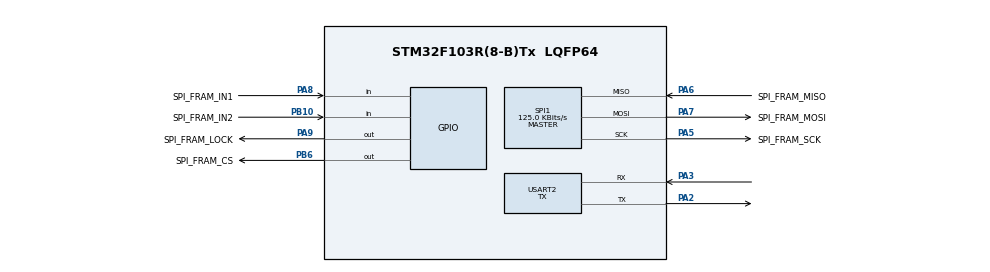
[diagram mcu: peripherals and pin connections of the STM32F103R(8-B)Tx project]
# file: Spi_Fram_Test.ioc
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Mcu.Family=STM32F1
Mcu.Name=STM32F103R(8-B)Tx
Mcu.Package=LQFP64
NVIC.PriorityGroup=NVIC_PRIORITYGROUP_4
PA2.Mode=Asynchronous
PA2.Signal=USART2_TX
PA3.Mode=Asynchronous
PA3.Signal=USART2_RX
PA5.GPIO_Label=SPI_FRAM_SCK
PA5.Mode=Full_Duplex_Master
PA5.Signal=SPI1_SCK
PA6.GPIO_Label=SPI_FRAM_MISO
PA6.Mode=Full_Duplex_Master
PA6.Signal=SPI1_MISO
PA7.GPIO_Label=SPI_FRAM_MOSI
PA7.Mode=Full_Duplex_Master
PA7.Signal=SPI1_MOSI
PA8.GPIO_Label=SPI_FRAM_IN1
PA8.Signal=GPIO_Input
PA9.GPIO_Label=SPI_FRAM_LOCK
PA9.Signal=GPIO_Output
PB10.GPIO_Label=SPI_FRAM_IN2
PB10.Signal=GPIO_Input
PB6.GPIO_Label=SPI_FRAM_CS
PB6.Signal=GPIO_Output
ProjectManager.HeapSize=0x200
ProjectManager.StackSize=0x400
ProjectManager.TargetToolchain=MDK-ARM V5
RCC.APB1Freq_Value=8000000
RCC.APB2Freq_Value=8000000
SPI1.BaudRatePrescaler=SPI_BAUDRATEPRESCALER_64
SPI1.CalculateBaudRate=125.0 KBits/s
SPI1.Direction=SPI_DIRECTION_2LINES
SPI1.Mode=SPI_MODE_MASTER
SPI1.VirtualType=VM_MASTER
USART2.Mode=MODE_TX
USART2.Parity=PARITY_NONE
USART2.VirtualMode=VM_ASYNC
VP_SYS_VS_ND.Mode=No_Debug
board=custom

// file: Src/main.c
/* USER CODE BEGIN Header */
/**
  ******************************************************************************
  * @file           : main.c
  * @brief          : Main program body
  ******************************************************************************
  ** This notice applies to any and all portions of this file
  * that are not between comment pairs USER CODE BEGIN and
  * USER CODE END. Other portions of this file, whether
  * inserted by the user or by software development tools
  * are owned by their respective copyright owners.
  *
  * COPYRIGHT(c) 2019 STMicroelectronics
  *
  * Redistribution and use in source and binary forms, with or without modification,
  * are permitted provided that the following conditions are met:
  *   1. Redistributions of source code must retain the above copyright notice,
  *      this list of conditions and the following disclaimer.
  *   2. Redistributions in binary form must reproduce the above copyright notice,
  *      this list of conditions and the following disclaimer in the documentation
  *      and/or other materials provided with the distribution.
  *   3. Neither the name of STMicroelectronics nor the names of its contributors
  *      may be used to endorse or promote products derived from this software
  *      without specific prior written permission.
  *
  * THIS SOFTWARE IS PROVIDED BY THE COPYRIGHT HOLDERS AND CONTRIBUTORS "AS IS"
  * AND ANY EXPRESS OR IMPLIED WARRANTIES, INCLUDING, BUT NOT LIMITED TO, THE
  * IMPLIED WARRANTIES OF MERCHANTABILITY AND FITNESS FOR A PARTICULAR PURPOSE ARE
  * DISCLAIMED. IN NO EVENT SHALL THE COPYRIGHT HOLDER OR CONTRIBUTORS BE LIABLE
  * FOR ANY DIRECT, INDIRECT, INCIDENTAL, SPECIAL, EXEMPLARY, OR CONSEQUENTIAL
  * DAMAGES (INCLUDING, BUT NOT LIMITED TO, PROCUREMENT OF SUBSTITUTE GOODS OR
  * SERVICES; LOSS OF USE, DATA, OR PROFITS; OR BUSINESS INTERRUPTION) HOWEVER
  * CAUSED AND ON ANY THEORY OF LIABILITY, WHETHER IN CONTRACT, STRICT LIABILITY,
  * OR TORT (INCLUDING NEGLIGENCE OR OTHERWISE) ARISING IN ANY WAY OUT OF THE USE
  * OF THIS SOFTWARE, EVEN IF ADVISED OF THE POSSIBILITY OF SUCH DAMAGE.
  *
  ******************************************************************************
  */
/* USER CODE END Header */

#include "main.h"

/* USER CODE BEGIN Includes */
#include "SPI_FRAM.h"
#include "DateConversion.h"
/* USER CODE END Includes */

SPI_HandleTypeDef hspi1;

UART_HandleTypeDef huart2;

void SystemClock_Config(void);
static void MX_GPIO_Init(void);
static void MX_SPI1_Init(void);
static void MX_USART2_UART_Init(void);

int main(void)
{

  /* MCU Configuration--------------------------------------------------------*/

  /* Reset of all peripherals, Initializes the Flash interface and the Systick. */
  HAL_Init();

  /* Configure the system clock */
  SystemClock_Config();

  /* Initialize all configured peripherals */
  MX_GPIO_Init();
  MX_SPI1_Init();
  MX_USART2_UART_Init();
  /* USER CODE BEGIN 2 */

	char msg[200] = {0};
	char msgClear[200] = {0};
  /* USER CODE END 2 */

  /* Infinite loop */
  /* USER CODE BEGIN WHILE */

	uint8_t battLevel, pmState, numdataPoints, solarVector, ltStatus, mechState, numUsers, powerStatus;
	double logTime, julianTime;
	volatile float longitude, latitude, altitude;
	uint8_t longU[4] = {0};
	uint8_t longD[8] = {0};

//	longitude = 234.54;
//	float_to_bytes(longitude, longU);
//	SPI_FRAM_Write(&hspi1, SPI_FRAM_LONGITUDE_ADDR, longU, 4);
//	HAL_Delay(1);
//
//	memcpy(msg, msgClear, 200);
//	snprintf(msg, 200, "\nLongitude: %f\n", longitude);
//	HAL_UART_Transmit(&huart2, (uint8_t *) msg, 200*sizeof(uint8_t), 5);

	#if 1 // Write to FRAM Test
	//uint8_t longU[4] = {0};
	//uint8_t longD[8] = {0};

	longitude = 234.3;
	float_to_bytes(longitude, longU);
	SPI_FRAM_Write(&hspi1, SPI_FRAM_LONGITUDE_ADDR, longU, 4, &huart2);
	HAL_Delay(1);

	latitude = 123.45;
	float_to_bytes(latitude, longU);
	SPI_FRAM_Write(&hspi1, SPI_FRAM_LATITUDE_ADDR, longU, 4, &huart2);
	HAL_Delay(1);

	altitude = 432.1;
	float_to_bytes(altitude, longU);
	SPI_FRAM_Write(&hspi1, SPI_FRAM_ALTITUDE_ADDR, longU, 4, &huart2);
	HAL_Delay(1);

	julianTime = 2458616.719144;
	double_to_bytes(julianTime, longD);
	SPI_FRAM_Write(&hspi1, SPI_FRAM_TIME_ADDR, longD, 8, &huart2);
	HAL_Delay(1);

	battLevel = 0x33;
	SPI_FRAM_Write(&hspi1, SPI_FRAM_BATT_LEVEL_ADDR, &battLevel, 1, &huart2);
	HAL_Delay(1);

	pmState = 0x02;
	SPI_FRAM_Write(&hspi1, SPI_FRAM_PM_STATE_ADDR, &pmState, 1, &huart2);
	HAL_Delay(1);

	logTime = 2458616.760810;
	double_to_bytes(logTime, longD);
	SPI_FRAM_Write(&hspi1, SPI_FRAM_LOG_DATA_TIME_ADDR, longD, 8, &huart2);
	HAL_Delay(1);

	numdataPoints = 0xD3;
	SPI_FRAM_Write(&hspi1, SPI_FRAM_NUM_DATA_ADDR, &numdataPoints, 1, &huart2);
	HAL_Delay(1);

	solarVector = 0xD3;
	SPI_FRAM_Write(&hspi1, SPI_FRAM_SOLAR_VECTOR_ADDR, &solarVector, 1, &huart2);
	HAL_Delay(1);

	ltStatus = 0x01;
	SPI_FRAM_Write(&hspi1, SPI_FRAM_LT_STAT_ADDR, &ltStatus, 1, &huart2);
	HAL_Delay(1);

	numUsers = 0xA9;
	SPI_FRAM_Write(&hspi1, SPI_FRAM_LT_DAILY_USERS_ADDR, &numUsers, 1, &huart2);
	HAL_Delay(1);

	powerStatus = 0x01;
	SPI_FRAM_Write(&hspi1, SPI_FRAM_POWER_STAT_ADDR, &powerStatus, 1, &huart2);
	HAL_Delay(1);

	mechState = 0x03;
	SPI_FRAM_Write(&hspi1, SPI_FRAM_MECH_STATE_ADDR, &mechState, 1, &huart2);
	#endif

	HAL_Delay(10);
	uint8_t readVal[4] = {1, 2, 3, 4};
	uint8_t readDouble[8] = {0};

	#if 0
	// Latitude
	SPI_FRAM_Read(&hspi1, SPI_FRAM_LATITUDE_ADDR, readVal, 4, &huart2);
	latitude = bytes_to_float(readVal);
	memcpy(msg, msgClear, 200);
	snprintf(msg, 200, "\nLatitude: %f\n", latitude);
	HAL_UART_Transmit(&huart2, (uint8_t *) msg, 200*sizeof(uint8_t), 5);

	// Longitude
	SPI_FRAM_Read(&hspi1, SPI_FRAM_LONGITUDE_ADDR, readVal, 4, &huart2);
	longitude = bytes_to_float(readVal);
	memcpy(msg, msgClear, 200);
	snprintf(msg, 200, "\nLongitude: %f\n", longitude);
	HAL_UART_Transmit(&huart2, (uint8_t *) msg, 200*sizeof(uint8_t), 5);

	// Altitude
	SPI_FRAM_Read(&hspi1, SPI_FRAM_ALTITUDE_ADDR, readVal, 4, &huart2);
	altitude = bytes_to_float(readVal);
	memcpy(msg, msgClear, 200);
	snprintf(msg, 200, "\nAltitude: %f\n", altitude);
	HAL_UART_Transmit(&huart2, (uint8_t *) msg, 200*sizeof(uint8_t), 5);

	// Time
	SPI_FRAM_Read(&hspi1, SPI_FRAM_TIME_ADDR, readDouble, 8, &huart2);
	julianTime = bytes_to_double(readDouble);
	memcpy(msg, msgClear, 200);
	snprintf(msg, 200, "\nTime: %lf\n", julianTime);
	HAL_UART_Transmit(&huart2, (uint8_t *) msg, 200*sizeof(uint8_t), 5);

	// Battery
	SPI_FRAM_Read(&hspi1, SPI_FRAM_BATT_LEVEL_ADDR, &battLevel, 1, &huart2);
	memcpy(msg, msgClear, 200);
	snprintf(msg, 200, "\nBattery Level: 0x%02x\n", battLevel);
	HAL_UART_Transmit(&huart2, (uint8_t *) msg, 200*sizeof(uint8_t), 5);

	// Power modes state
	SPI_FRAM_Read(&hspi1, SPI_FRAM_PM_STATE_ADDR, &pmState, 1, &huart2);
	memcpy(msg, msgClear, 200);
	snprintf(msg, 200, "\nPModes State: 0x%02X\n", pmState);
	HAL_UART_Transmit(&huart2, (uint8_t *) msg, 200*sizeof(uint8_t), 5);

	// Log data at a certain time
	SPI_FRAM_Read(&hspi1, SPI_FRAM_LOG_DATA_TIME_ADDR, readDouble, 8, &huart2);
	logTime = bytes_to_double(readDouble);
	memcpy(msg, msgClear, 200);
	snprintf(msg, 200, "\nLog data time: %lf\n", logTime);
	HAL_UART_Transmit(&huart2, (uint8_t *) msg, 200*sizeof(uint8_t), 5);

	// num data points logged
	SPI_FRAM_Read(&hspi1, SPI_FRAM_NUM_DATA_ADDR, &numdataPoints, 1, &huart2);
	memcpy(msg, msgClear, 200);
	snprintf(msg, 200, "\nNum data points: 0x%02X\n", numdataPoints);
	HAL_UART_Transmit(&huart2, (uint8_t *) msg, 200*sizeof(uint8_t), 5);

	// solar vector
	SPI_FRAM_Read(&hspi1, SPI_FRAM_SOLAR_VECTOR_ADDR, &solarVector, 1, &huart2);
	memcpy(msg, msgClear, 200);
	snprintf(msg, 200, "\nSolar Vector: 0x%02X\n", solarVector);
	HAL_UART_Transmit(&huart2, (uint8_t *) msg, 200*sizeof(uint8_t), 5);

	// LT status
	SPI_FRAM_Read(&hspi1, SPI_FRAM_LT_STAT_ADDR, &ltStatus, 1, &huart2);
	memcpy(msg, msgClear, 200);
	snprintf(msg, 200, "\nLT Status: 0x%02X\n", ltStatus);
	HAL_UART_Transmit(&huart2, (uint8_t *) msg, 200*sizeof(uint8_t), 5);

	// Daily users
	SPI_FRAM_Read(&hspi1, SPI_FRAM_LT_DAILY_USERS_ADDR, &numUsers, 1, &huart2);
	memcpy(msg, msgClear, 200);
	snprintf(msg, 200, "\nDaily Users: 0x%02X\n", numUsers);
	HAL_UART_Transmit(&huart2, (uint8_t *) msg, 200*sizeof(uint8_t), 5);

	// Power status
	SPI_FRAM_Read(&hspi1, SPI_FRAM_POWER_STAT_ADDR, &powerStatus, 1, &huart2);
	memcpy(msg, msgClear, 200);
	snprintf(msg, 200, "\nPower status: 0x%02X\n", powerStatus);
	HAL_UART_Transmit(&huart2, (uint8_t *) msg, 200*sizeof(uint8_t), 5);

	// Mech state
	SPI_FRAM_Read(&hspi1, SPI_FRAM_MECH_STATE_ADDR, &mechState, 1, &huart2);
	memcpy(msg, msgClear, 200);
	snprintf(msg, 200, "\nMech state: 0x%02X\n", mechState);
	HAL_UART_Transmit(&huart2, (uint8_t *) msg, 200*sizeof(uint8_t), 5);

	HAL_GPIO_WritePin(GPIOA, SPI_FRAM_LOCK_Pin, GPIO_PIN_SET);
	#endif

  while (1)
  {
    /* USER CODE END WHILE */

  }
}

void SystemClock_Config(void)
{
  RCC_OscInitTypeDef RCC_OscInitStruct = {0};
  RCC_ClkInitTypeDef RCC_ClkInitStruct = {0};

  /** Initializes the CPU, AHB and APB busses clocks
  */
  RCC_OscInitStruct.OscillatorType = RCC_OSCILLATORTYPE_HSI;
  RCC_OscInitStruct.HSIState = RCC_HSI_ON;
  RCC_OscInitStruct.HSICalibrationValue = RCC_HSICALIBRATION_DEFAULT;
  RCC_OscInitStruct.PLL.PLLState = RCC_PLL_NONE;
  if (HAL_RCC_OscConfig(&RCC_OscInitStruct) != HAL_OK)
  {
    Error_Handler();
  }
  /** Initializes the CPU, AHB and APB busses clocks
  */
  RCC_ClkInitStruct.ClockType = RCC_CLOCKTYPE_HCLK|RCC_CLOCKTYPE_SYSCLK
                              |RCC_CLOCKTYPE_PCLK1|RCC_CLOCKTYPE_PCLK2;
  RCC_ClkInitStruct.SYSCLKSource = RCC_SYSCLKSOURCE_HSI;
  RCC_ClkInitStruct.AHBCLKDivider = RCC_SYSCLK_DIV1;
  RCC_ClkInitStruct.APB1CLKDivider = RCC_HCLK_DIV1;
  RCC_ClkInitStruct.APB2CLKDivider = RCC_HCLK_DIV1;

  if (HAL_RCC_ClockConfig(&RCC_ClkInitStruct, FLASH_LATENCY_0) != HAL_OK)
  {
    Error_Handler();
  }
}

static void MX_SPI1_Init(void)
{

  /* SPI1 parameter configuration*/
  hspi1.Instance = SPI1;
  hspi1.Init.Mode = SPI_MODE_MASTER;
  hspi1.Init.Direction = SPI_DIRECTION_2LINES;
  hspi1.Init.DataSize = SPI_DATASIZE_8BIT;
  hspi1.Init.CLKPolarity = SPI_POLARITY_LOW;
  hspi1.Init.CLKPhase = SPI_PHASE_1EDGE;
  hspi1.Init.NSS = SPI_NSS_SOFT;
  hspi1.Init.BaudRatePrescaler = SPI_BAUDRATEPRESCALER_64;
  hspi1.Init.FirstBit = SPI_FIRSTBIT_MSB;
  hspi1.Init.TIMode = SPI_TIMODE_DISABLE;
  hspi1.Init.CRCCalculation = SPI_CRCCALCULATION_DISABLE;
  hspi1.Init.CRCPolynomial = 10;
  if (HAL_SPI_Init(&hspi1) != HAL_OK)
  {
    Error_Handler();
  }

}

static void MX_USART2_UART_Init(void)
{

  huart2.Instance = USART2;
  huart2.Init.BaudRate = 115200;
  huart2.Init.WordLength = UART_WORDLENGTH_8B;
  huart2.Init.StopBits = UART_STOPBITS_1;
  huart2.Init.Parity = UART_PARITY_NONE;
  huart2.Init.Mode = UART_MODE_TX;
  huart2.Init.HwFlowCtl = UART_HWCONTROL_NONE;
  huart2.Init.OverSampling = UART_OVERSAMPLING_16;
  if (HAL_UART_Init(&huart2) != HAL_OK)
  {
    Error_Handler();
  }

}

static void MX_GPIO_Init(void)
{
  GPIO_InitTypeDef GPIO_InitStruct = {0};

  /* GPIO Ports Clock Enable */
  __HAL_RCC_GPIOA_CLK_ENABLE();
  __HAL_RCC_GPIOB_CLK_ENABLE();

  /*Configure GPIO pin Output Level */
  HAL_GPIO_WritePin(SPI_FRAM_LOCK_GPIO_Port, SPI_FRAM_LOCK_Pin, GPIO_PIN_RESET);

  /*Configure GPIO pin Output Level */
  HAL_GPIO_WritePin(SPI_FRAM_CS_GPIO_Port, SPI_FRAM_CS_Pin, GPIO_PIN_RESET);

  /*Configure GPIO pin : SPI_FRAM_IN2_Pin */
  GPIO_InitStruct.Pin = SPI_FRAM_IN2_Pin;
  GPIO_InitStruct.Mode = GPIO_MODE_INPUT;
  GPIO_InitStruct.Pull = GPIO_NOPULL;
  HAL_GPIO_Init(SPI_FRAM_IN2_GPIO_Port, &GPIO_InitStruct);

  /*Configure GPIO pin : SPI_FRAM_IN1_Pin */
  GPIO_InitStruct.Pin = SPI_FRAM_IN1_Pin;
  GPIO_InitStruct.Mode = GPIO_MODE_INPUT;
  GPIO_InitStruct.Pull = GPIO_NOPULL;
  HAL_GPIO_Init(SPI_FRAM_IN1_GPIO_Port, &GPIO_InitStruct);

  /*Configure GPIO pin : SPI_FRAM_LOCK_Pin */
  GPIO_InitStruct.Pin = SPI_FRAM_LOCK_Pin;
  GPIO_InitStruct.Mode = GPIO_MODE_OUTPUT_PP;
  GPIO_InitStruct.Pull = GPIO_NOPULL;
  GPIO_InitStruct.Speed = GPIO_SPEED_FREQ_LOW;
  HAL_GPIO_Init(SPI_FRAM_LOCK_GPIO_Port, &GPIO_InitStruct);

  /*Configure GPIO pin : SPI_FRAM_CS_Pin */
  GPIO_InitStruct.Pin = SPI_FRAM_CS_Pin;
  GPIO_InitStruct.Mode = GPIO_MODE_OUTPUT_PP;
  GPIO_InitStruct.Pull = GPIO_NOPULL;
  GPIO_InitStruct.Speed = GPIO_SPEED_FREQ_LOW;
  HAL_GPIO_Init(SPI_FRAM_CS_GPIO_Port, &GPIO_InitStruct);

}

void Error_Handler(void)
{
}

/************************ (C) COPYRIGHT STMicroelectronics *****END OF FILE****/
